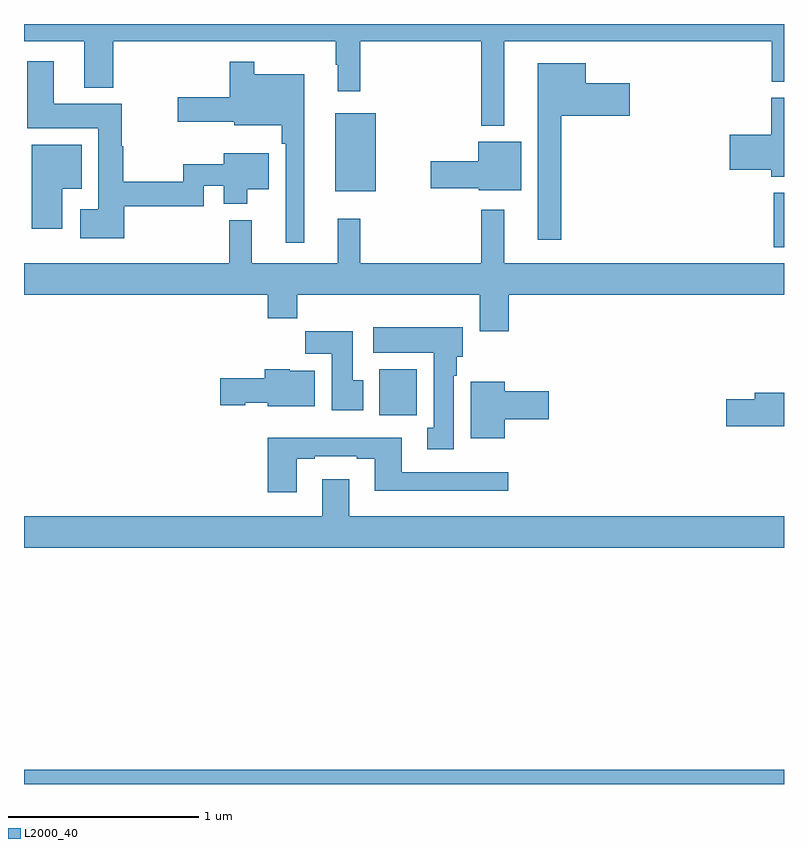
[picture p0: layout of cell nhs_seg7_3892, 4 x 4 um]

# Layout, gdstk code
import gdstk
lib = gdstk.Library(unit=1e-6, precision=1e-09)
def R(c, l, rs):  # rectangles x0, y0, x1, y1
    for r in rs: c.add(gdstk.rectangle(r[:2], r[2:], *l))
def P(c, l, *ps):  # polygons
    for p in ps: c.add(gdstk.Polygon(p, *l))
L2000_40 = (2000, 40)

nhs_seg7_3892 = lib.new_cell('nhs_seg7_3892')
R(nhs_seg7_3892, L2000_40, [(357,1038,361,1038.076), (358.871,1039.94,359.068,1040.182), (360.947,1040.826,361,1041.111), (358.637,1041.119,358.852,1041.529)])
P(nhs_seg7_3892, L2000_40, [(359.527,1041.908),(360.935,1041.908),(360.935,1041.697),(361,1041.697),(361,1042),(357,1042),(357,1041.908),(357.317,1041.908),(357.317,1041.665),(357.47,1041.665),(357.47,1041.908),(358.641,1041.908),(358.641,1041.785),(358.652,1041.785),(358.652,1041.645),(358.769,1041.645),(358.769,1041.908),(359.406,1041.908),(359.406,1041.464),(359.527,1041.464)],
  [(357.527,1041.042),(357.945,1041.042),(357.945,1041.15),(358.052,1041.15),(358.052,1041.053),(358.174,1041.053),(358.174,1041.131),(358.288,1041.131),(358.288,1041.319),(358.052,1041.319),(358.052,1041.261),(357.837,1041.261),(357.837,1041.17),(357.522,1041.17),(357.522,1041.356),(357.514,1041.356),(357.514,1041.58),(357.157,1041.58),(357.157,1041.805),(357.017,1041.805),(357.017,1041.452),(357.392,1041.452),(357.392,1041.025),(357.297,1041.025),(357.297,1040.873),(357.527,1040.873)],
  [(358.474,1041.736),(358.213,1041.736),(358.213,1041.802),(358.084,1041.802),(358.084,1041.615),(357.81,1041.615),(357.81,1041.485),(358.107,1041.485),(358.107,1041.467),(358.357,1041.467),(358.357,1041.371),(358.377,1041.371),(358.377,1040.85),(358.474,1040.85)],
  [(359.827,1041.518),(360.187,1041.518),(360.187,1041.688),(359.956,1041.688),(359.956,1041.793),(359.705,1041.793),(359.705,1040.865),(359.827,1040.865)],
  [(361,1041.612),(360.932,1041.612),(360.932,1041.416),(360.714,1041.416),(360.714,1041.233),(360.932,1041.233),(360.932,1041.196),(361,1041.196)],
  [(359.617,1041.379),(359.39,1041.379),(359.39,1041.278),(359.142,1041.278),(359.142,1041.136),(359.394,1041.136),(359.394,1041.125),(359.617,1041.125)],
  [(357.202,1041.134),(357.304,1041.134),(357.304,1041.364),(357.041,1041.364),(357.041,1040.922),(357.202,1040.922)],
  [(359.552,1040.576),(361,1040.576),(361,1040.74),(359.527,1040.74),(359.527,1041.022),(359.406,1041.022),(359.406,1040.74),(358.769,1040.74),(358.769,1040.974),(358.652,1040.974),(358.652,1040.74),(358.199,1040.74),(358.199,1040.968),(358.081,1040.968),(358.081,1040.74),(357,1040.74),(357,1040.576),(358.283,1040.576),(358.283,1040.452),(358.439,1040.452),(358.439,1040.576),(359.399,1040.576),(359.399,1040.382),(359.552,1040.382)],
  [(359.263,1040.15),(359.278,1040.15),(359.278,1040.25),(359.308,1040.25),(359.308,1040.404),(358.839,1040.404),(358.839,1040.27),(359.156,1040.27),(359.156,1039.874),(359.123,1039.874),(359.123,1039.761),(359.263,1039.761)],
  [(358.786,1040.124),(358.729,1040.124),(358.729,1040.382),(358.48,1040.382),(358.48,1040.264),(358.619,1040.264),(358.619,1039.968),(358.786,1039.968)],
  [(358.531,1040.176),(358.398,1040.176),(358.398,1040.182),(358.268,1040.182),(358.268,1040.136),(358.032,1040.136),(358.032,1039.994),(358.164,1039.994),(358.164,1040.006),(358.284,1040.006),(358.284,1039.988),(358.531,1039.988)],
  [(359.53,1039.919),(359.761,1039.919),(359.761,1040.066),(359.53,1040.066),(359.53,1040.116),(359.351,1040.116),(359.351,1039.82),(359.53,1039.82)],
  [(361,1040.06),(360.845,1040.06),(360.845,1040.024),(360.696,1040.024),(360.696,1039.882),(361,1039.882)],
  [(358.435,1039.713),(358.531,1039.713),(358.531,1039.725),(358.751,1039.725),(358.751,1039.713),(358.847,1039.713),(358.847,1039.544),(359.548,1039.544),(359.548,1039.641),(358.987,1039.641),(358.987,1039.822),(358.283,1039.822),(358.283,1039.536),(358.435,1039.536)],
  [(361,1039.408),(358.711,1039.408),(358.711,1039.603),(358.571,1039.603),(358.571,1039.408),(357,1039.408),(357,1039.244),(361,1039.244)])

lib.write_gds('nhs_seg7_3892.gds')
